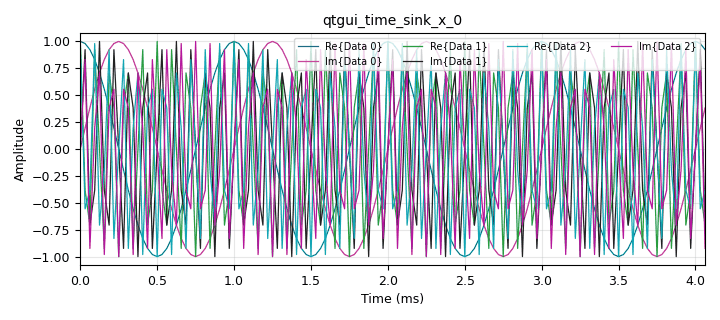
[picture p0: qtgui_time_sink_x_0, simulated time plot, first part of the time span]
options:
  parameters:
    generate_options: qt_gui
    id: am_modulation
    output_language: python
    title: Not titled yet
  states: {}

blocks:
- name: samp_rate
  id: variable
  parameters:
    value: '32000'
  states: {}
- name: analog_sig_source_x_0
  id: analog_sig_source_x
  parameters:
    alias: message
    amp: '1'
    freq: '1000'
    offset: '0'
    phase: '0'
    samp_rate: samp_rate
    type: complex
    waveform: analog.GR_SIN_WAVE
  states: {}
- name: analog_sig_source_x_1
  id: analog_sig_source_x
  parameters:
    alias: carrier
    amp: '1'
    freq: '10000'
    offset: '0'
    phase: '0'
    samp_rate: samp_rate
    type: complex
    waveform: analog.GR_SIN_WAVE
  states: {}
- name: blocks_multiply_xx_0
  id: blocks_multiply_xx
  parameters:
    type: complex
  states: {}
- name: qtgui_time_sink_x_0
  id: qtgui_time_sink_x
  parameters:
    nconnections: '3'
    size: '1024'
    srate: samp_rate
    type: complex
  states: {}

connections:
- [analog_sig_source_x_0, '0', blocks_multiply_xx_0, '0']
- [analog_sig_source_x_0, '0', qtgui_time_sink_x_0, '0']
- [analog_sig_source_x_1, '0', blocks_multiply_xx_0, '1']
- [analog_sig_source_x_1, '0', qtgui_time_sink_x_0, '1']
- [blocks_multiply_xx_0, '0', qtgui_time_sink_x_0, '2']

metadata:
  file_format: 1
  grc_version: 3.10.12.0
